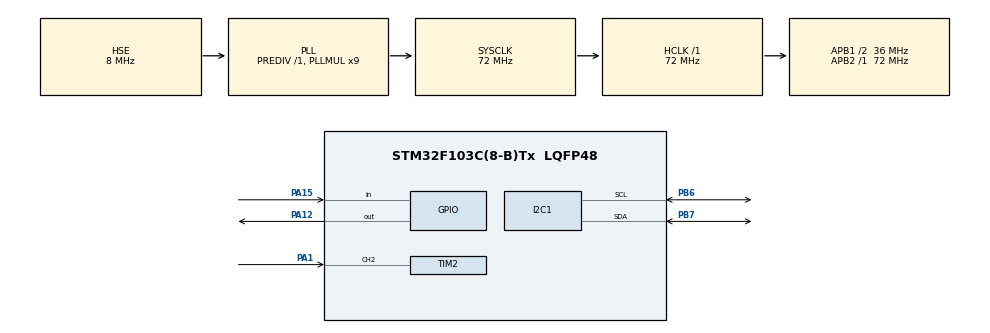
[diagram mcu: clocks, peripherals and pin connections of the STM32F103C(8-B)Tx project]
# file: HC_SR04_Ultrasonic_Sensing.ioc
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IWDG.Prescaler=IWDG_PRESCALER_64
IWDG.Reload=3999
Mcu.Family=STM32F1
Mcu.Name=STM32F103C(8-B)Tx
Mcu.Package=LQFP48
NVIC.PriorityGroup=NVIC_PRIORITYGROUP_4
NVIC.RTC_Alarm_IRQn=true\:0\:0\:false\:false\:true\:true\:true\:true
NVIC.TIM1_UP_IRQn=true\:0\:0\:false\:false\:true\:true\:true\:true
NVIC.TIM2_IRQn=true\:0\:0\:false\:false\:true\:true\:true\:true
PA1.Signal=S_TIM2_CH2
PA12.Signal=GPIO_Output
PA13.Mode=Serial_Wire
PA13.Signal=SYS_JTMS-SWDIO
PA14.Mode=Serial_Wire
PA14.Signal=SYS_JTCK-SWCLK
PA15.Signal=GPIO_Input
PB6.Mode=I2C
PB6.Signal=I2C1_SCL
PB7.Mode=I2C
PB7.Signal=I2C1_SDA
PC14-OSC32_IN.Mode=LSE-External-Oscillator
PC14-OSC32_IN.Signal=RCC_OSC32_IN
PC15-OSC32_OUT.Mode=LSE-External-Oscillator
PC15-OSC32_OUT.Signal=RCC_OSC32_OUT
PD0-OSC_IN.Mode=HSE-External-Oscillator
PD0-OSC_IN.Signal=RCC_OSC_IN
PD1-OSC_OUT.Mode=HSE-External-Oscillator
PD1-OSC_OUT.Signal=RCC_OSC_OUT
ProjectManager.HeapSize=0x200
ProjectManager.StackSize=0x400
ProjectManager.TargetToolchain=STM32CubeIDE
RCC.AHBFreq_Value=72000000
RCC.APB1CLKDivider=RCC_HCLK_DIV2
RCC.APB1Freq_Value=36000000
RCC.APB1TimFreq_Value=72000000
RCC.APB2Freq_Value=72000000
RCC.APB2TimFreq_Value=72000000
RCC.HCLKFreq_Value=72000000
RCC.PLLMUL=RCC_PLL_MUL9
RCC.PLLSourceVirtual=RCC_PLLSOURCE_HSE
RCC.RTCClockSelection=RCC_RTCCLKSOURCE_LSE
RCC.SYSCLKFreq_VALUE=72000000
RCC.SYSCLKSource=RCC_SYSCLKSOURCE_PLLCLK
RCC.USBFreq_Value=72000000
SH.S_TIM2_CH2.0=TIM2_CH2,TriggerSource_TI2FP2
SH.S_TIM2_CH2.1=TIM2_CH2,Input_Capture2_from_TI2
TIM1.Period=10
TIM1.Prescaler=71
TIM2.Channel-Input_Capture1_from_TI2_63=TIM_CHANNEL_1
TIM2.Channel-Input_Capture2_from_TI2=TIM_CHANNEL_2
TIM2.ICPolarity_CH1=TIM_INPUTCHANNELPOLARITY_FALLING
TIM2.Prescaler=71
VP_IWDG_VS_IWDG.Mode=IWDG_Activate
VP_RTC_VS_RTC_Activate.Mode=RTC_Enabled
VP_TIM1_VS_ClockSourceINT.Mode=Internal
VP_TIM1_VS_OPM.Mode=OPM_bit
VP_TIM2_VS_ClockSourceINT.Mode=Internal
VP_TIM2_VS_ControllerModeReset.Mode=Reset Mode
VP_TIM2_VS_indirect_ch2.Mode=Input_Capture1_from_TI2_63
board=custom

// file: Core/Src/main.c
/* USER CODE BEGIN Header */
/**
  ******************************************************************************
  * @file           : main.c
  * @brief          : Main program body
  ******************************************************************************
  * @attention
  *
  * Copyright (c) 2025 STMicroelectronics.
  * All rights reserved.
  *
  * This software is licensed under terms that can be found in the LICENSE file
  * in the root directory of this software component.
  * If no LICENSE file comes with this software, it is provided AS-IS.
  *
  ******************************************************************************
  */
/* USER CODE END Header */
#include "main.h"

/* USER CODE BEGIN Includes */
#include "oled_display.h"
#include "hc_sr04.h"
/* USER CODE END Includes */

I2C_HandleTypeDef hi2c1;

IWDG_HandleTypeDef hiwdg;

RTC_HandleTypeDef hrtc;

TIM_HandleTypeDef htim1;
TIM_HandleTypeDef htim2;

/* USER CODE BEGIN PV */
uint32_t pulse_us;
uint8_t distance_update_flag;
uint16_t distance;
RTC_TimeTypeDef this_type = {0};
RTC_AlarmTypeDef this_rtc_alarm = {0};

/* USER CODE END PV */

void SystemClock_Config(void);
static void MX_GPIO_Init(void);
static void MX_I2C1_Init(void);
static void MX_TIM1_Init(void);
static void MX_TIM2_Init(void);
static void MX_RTC_Init(void);
static void MX_IWDG_Init(void);

int main(void)
{

  /* MCU Configuration--------------------------------------------------------*/

  /* Reset of all peripherals, Initializes the Flash interface and the Systick. */
  HAL_Init();

  /* Configure the system clock */
  SystemClock_Config();

  /* Initialize all configured peripherals */
  MX_GPIO_Init();
  MX_I2C1_Init();
  MX_TIM1_Init();
  MX_TIM2_Init();
  MX_RTC_Init();
  MX_IWDG_Init();
  /* USER CODE BEGIN 2 */
  oled_init();
  HC_SR04_Init();

  distance_update_flag = 0;
  /* USER CODE END 2 */

  /* Infinite loop */
  while (1)
    {

    /* USER CODE BEGIN 3 */
  	  //trigger signal
  	  HC_SR04_Trigger(); // trigger the HC_SR04 chip

  	  HAL_TIM_IC_Start_IT(&htim2, TIM_CHANNEL_1); // activate the interrupt for the falling edge of the echo wave

  	  while(!distance_update_flag); // wait the measure to be done
  	  distance_update_flag = 0; // reset the flag for next run

  	  HAL_TIM_IC_Stop_IT(&htim2, TIM_CHANNEL_1);

  	  distance = HC_SR04_Distance_Calculate(pulse_us); //distance calculated in cm 325cm & 280cm

  	  HAL_RTC_GetTime(&hrtc,&this_type,RTC_FORMAT_BIN);
  	  oled_display_wavelength_distance_rtc(pulse_us, distance, this_type.Seconds); // update oled

  	  // entering the sleep mode
  	  // 1.prepare to stop

  	  HAL_RTC_GetTime(&hrtc,&this_rtc_alarm.AlarmTime ,RTC_FORMAT_BIN);
  	  if (this_rtc_alarm.AlarmTime.Seconds >= 58) {
  		  this_rtc_alarm.AlarmTime.Seconds = 0;
  	      this_rtc_alarm.AlarmTime.Minutes = (this_rtc_alarm.AlarmTime.Minutes + 1) % 60;
  	  } else {
  		  this_rtc_alarm.AlarmTime.Seconds += 2;
  	  }

  	  HAL_RTC_SetAlarm_IT(&hrtc,&this_rtc_alarm,RTC_FORMAT_BIN);

  	  __HAL_PWR_CLEAR_FLAG(PWR_FLAG_WU);
  	  HAL_SuspendTick();
  	  // 2. Enter STOP mode (system is off here until interrupt)
  	  HAL_PWR_EnterSTOPMode(PWR_MAINREGULATOR_ON, PWR_STOPENTRY_WFI);
  	  // 3.wake up the system and do the work
  	  SystemClock_Config();
  	  HAL_ResumeTick();
  	  HAL_RTC_DeactivateAlarm(&hrtc,RTC_ALARM_A);

  	  HAL_IWDG_Refresh(&hiwdg);

  /* USER CODE BEGIN 3 */
    }

  /* USER CODE END 3 */
}

void SystemClock_Config(void)
{
  RCC_OscInitTypeDef RCC_OscInitStruct = {0};
  RCC_ClkInitTypeDef RCC_ClkInitStruct = {0};
  RCC_PeriphCLKInitTypeDef PeriphClkInit = {0};

  /** Initializes the RCC Oscillators according to the specified parameters
  * in the RCC_OscInitTypeDef structure.
  */
  RCC_OscInitStruct.OscillatorType = RCC_OSCILLATORTYPE_LSI|RCC_OSCILLATORTYPE_HSE
                              |RCC_OSCILLATORTYPE_LSE;
  RCC_OscInitStruct.HSEState = RCC_HSE_ON;
  RCC_OscInitStruct.HSEPredivValue = RCC_HSE_PREDIV_DIV1;
  RCC_OscInitStruct.LSEState = RCC_LSE_ON;
  RCC_OscInitStruct.HSIState = RCC_HSI_ON;
  RCC_OscInitStruct.LSIState = RCC_LSI_ON;
  RCC_OscInitStruct.PLL.PLLState = RCC_PLL_ON;
  RCC_OscInitStruct.PLL.PLLSource = RCC_PLLSOURCE_HSE;
  RCC_OscInitStruct.PLL.PLLMUL = RCC_PLL_MUL9;
  if (HAL_RCC_OscConfig(&RCC_OscInitStruct) != HAL_OK)
  {
    Error_Handler();
  }

  /** Initializes the CPU, AHB and APB buses clocks
  */
  RCC_ClkInitStruct.ClockType = RCC_CLOCKTYPE_HCLK|RCC_CLOCKTYPE_SYSCLK
                              |RCC_CLOCKTYPE_PCLK1|RCC_CLOCKTYPE_PCLK2;
  RCC_ClkInitStruct.SYSCLKSource = RCC_SYSCLKSOURCE_PLLCLK;
  RCC_ClkInitStruct.AHBCLKDivider = RCC_SYSCLK_DIV1;
  RCC_ClkInitStruct.APB1CLKDivider = RCC_HCLK_DIV2;
  RCC_ClkInitStruct.APB2CLKDivider = RCC_HCLK_DIV1;

  if (HAL_RCC_ClockConfig(&RCC_ClkInitStruct, FLASH_LATENCY_2) != HAL_OK)
  {
    Error_Handler();
  }
  PeriphClkInit.PeriphClockSelection = RCC_PERIPHCLK_RTC;
  PeriphClkInit.RTCClockSelection = RCC_RTCCLKSOURCE_LSE;
  if (HAL_RCCEx_PeriphCLKConfig(&PeriphClkInit) != HAL_OK)
  {
    Error_Handler();
  }
}

static void MX_I2C1_Init(void)
{

  hi2c1.Instance = I2C1;
  hi2c1.Init.ClockSpeed = 100000;
  hi2c1.Init.DutyCycle = I2C_DUTYCYCLE_2;
  hi2c1.Init.OwnAddress1 = 0;
  hi2c1.Init.AddressingMode = I2C_ADDRESSINGMODE_7BIT;
  hi2c1.Init.DualAddressMode = I2C_DUALADDRESS_DISABLE;
  hi2c1.Init.OwnAddress2 = 0;
  hi2c1.Init.GeneralCallMode = I2C_GENERALCALL_DISABLE;
  hi2c1.Init.NoStretchMode = I2C_NOSTRETCH_DISABLE;
  if (HAL_I2C_Init(&hi2c1) != HAL_OK)
  {
    Error_Handler();
  }

}

static void MX_IWDG_Init(void)
{

  hiwdg.Instance = IWDG;
  hiwdg.Init.Prescaler = IWDG_PRESCALER_64;
  hiwdg.Init.Reload = 3999;
  if (HAL_IWDG_Init(&hiwdg) != HAL_OK)
  {
    Error_Handler();
  }

}

static void MX_RTC_Init(void)
{

  /** Initialize RTC Only
  */
  hrtc.Instance = RTC;
  hrtc.Init.AsynchPrediv = RTC_AUTO_1_SECOND;
  hrtc.Init.OutPut = RTC_OUTPUTSOURCE_ALARM;
  if (HAL_RTC_Init(&hrtc) != HAL_OK)
  {
    Error_Handler();
  }

}

static void MX_TIM1_Init(void)
{

  TIM_ClockConfigTypeDef sClockSourceConfig = {0};
  TIM_MasterConfigTypeDef sMasterConfig = {0};

  htim1.Instance = TIM1;
  htim1.Init.Prescaler = 71;
  htim1.Init.CounterMode = TIM_COUNTERMODE_UP;
  htim1.Init.Period = 10;
  htim1.Init.ClockDivision = TIM_CLOCKDIVISION_DIV1;
  htim1.Init.RepetitionCounter = 0;
  htim1.Init.AutoReloadPreload = TIM_AUTORELOAD_PRELOAD_DISABLE;
  if (HAL_TIM_Base_Init(&htim1) != HAL_OK)
  {
    Error_Handler();
  }
  sClockSourceConfig.ClockSource = TIM_CLOCKSOURCE_INTERNAL;
  if (HAL_TIM_ConfigClockSource(&htim1, &sClockSourceConfig) != HAL_OK)
  {
    Error_Handler();
  }
  if (HAL_TIM_OnePulse_Init(&htim1, TIM_OPMODE_SINGLE) != HAL_OK)
  {
    Error_Handler();
  }
  sMasterConfig.MasterOutputTrigger = TIM_TRGO_RESET;
  sMasterConfig.MasterSlaveMode = TIM_MASTERSLAVEMODE_DISABLE;
  if (HAL_TIMEx_MasterConfigSynchronization(&htim1, &sMasterConfig) != HAL_OK)
  {
    Error_Handler();
  }

}

static void MX_TIM2_Init(void)
{

  TIM_ClockConfigTypeDef sClockSourceConfig = {0};
  TIM_SlaveConfigTypeDef sSlaveConfig = {0};
  TIM_MasterConfigTypeDef sMasterConfig = {0};
  TIM_IC_InitTypeDef sConfigIC = {0};

  htim2.Instance = TIM2;
  htim2.Init.Prescaler = 71;
  htim2.Init.CounterMode = TIM_COUNTERMODE_UP;
  htim2.Init.Period = 65535;
  htim2.Init.ClockDivision = TIM_CLOCKDIVISION_DIV1;
  htim2.Init.AutoReloadPreload = TIM_AUTORELOAD_PRELOAD_DISABLE;
  if (HAL_TIM_Base_Init(&htim2) != HAL_OK)
  {
    Error_Handler();
  }
  sClockSourceConfig.ClockSource = TIM_CLOCKSOURCE_INTERNAL;
  if (HAL_TIM_ConfigClockSource(&htim2, &sClockSourceConfig) != HAL_OK)
  {
    Error_Handler();
  }
  if (HAL_TIM_IC_Init(&htim2) != HAL_OK)
  {
    Error_Handler();
  }
  sSlaveConfig.SlaveMode = TIM_SLAVEMODE_RESET;
  sSlaveConfig.InputTrigger = TIM_TS_TI2FP2;
  sSlaveConfig.TriggerPolarity = TIM_INPUTCHANNELPOLARITY_RISING;
  sSlaveConfig.TriggerFilter = 0;
  if (HAL_TIM_SlaveConfigSynchro(&htim2, &sSlaveConfig) != HAL_OK)
  {
    Error_Handler();
  }
  sMasterConfig.MasterOutputTrigger = TIM_TRGO_RESET;
  sMasterConfig.MasterSlaveMode = TIM_MASTERSLAVEMODE_DISABLE;
  if (HAL_TIMEx_MasterConfigSynchronization(&htim2, &sMasterConfig) != HAL_OK)
  {
    Error_Handler();
  }
  sConfigIC.ICPolarity = TIM_INPUTCHANNELPOLARITY_FALLING;
  sConfigIC.ICSelection = TIM_ICSELECTION_INDIRECTTI;
  sConfigIC.ICPrescaler = TIM_ICPSC_DIV1;
  sConfigIC.ICFilter = 0;
  if (HAL_TIM_IC_ConfigChannel(&htim2, &sConfigIC, TIM_CHANNEL_1) != HAL_OK)
  {
    Error_Handler();
  }
  sConfigIC.ICPolarity = TIM_INPUTCHANNELPOLARITY_RISING;
  sConfigIC.ICSelection = TIM_ICSELECTION_DIRECTTI;
  if (HAL_TIM_IC_ConfigChannel(&htim2, &sConfigIC, TIM_CHANNEL_2) != HAL_OK)
  {
    Error_Handler();
  }

}

static void MX_GPIO_Init(void)
{
  GPIO_InitTypeDef GPIO_InitStruct = {0};

  /* GPIO Ports Clock Enable */
  __HAL_RCC_GPIOC_CLK_ENABLE();
  __HAL_RCC_GPIOD_CLK_ENABLE();
  __HAL_RCC_GPIOA_CLK_ENABLE();
  __HAL_RCC_GPIOB_CLK_ENABLE();

  /*Configure GPIO pin Output Level */
  HAL_GPIO_WritePin(GPIOA, GPIO_PIN_12, GPIO_PIN_RESET);

  /*Configure GPIO pin : PA12 */
  GPIO_InitStruct.Pin = GPIO_PIN_12;
  GPIO_InitStruct.Mode = GPIO_MODE_OUTPUT_PP;
  GPIO_InitStruct.Pull = GPIO_NOPULL;
  GPIO_InitStruct.Speed = GPIO_SPEED_FREQ_LOW;
  HAL_GPIO_Init(GPIOA, &GPIO_InitStruct);

  /*Configure GPIO pin : PA15 */
  GPIO_InitStruct.Pin = GPIO_PIN_15;
  GPIO_InitStruct.Mode = GPIO_MODE_INPUT;
  GPIO_InitStruct.Pull = GPIO_NOPULL;
  HAL_GPIO_Init(GPIOA, &GPIO_InitStruct);

}

void Error_Handler(void)
{
  __disable_irq();
  while (1)
  {
  }
}
